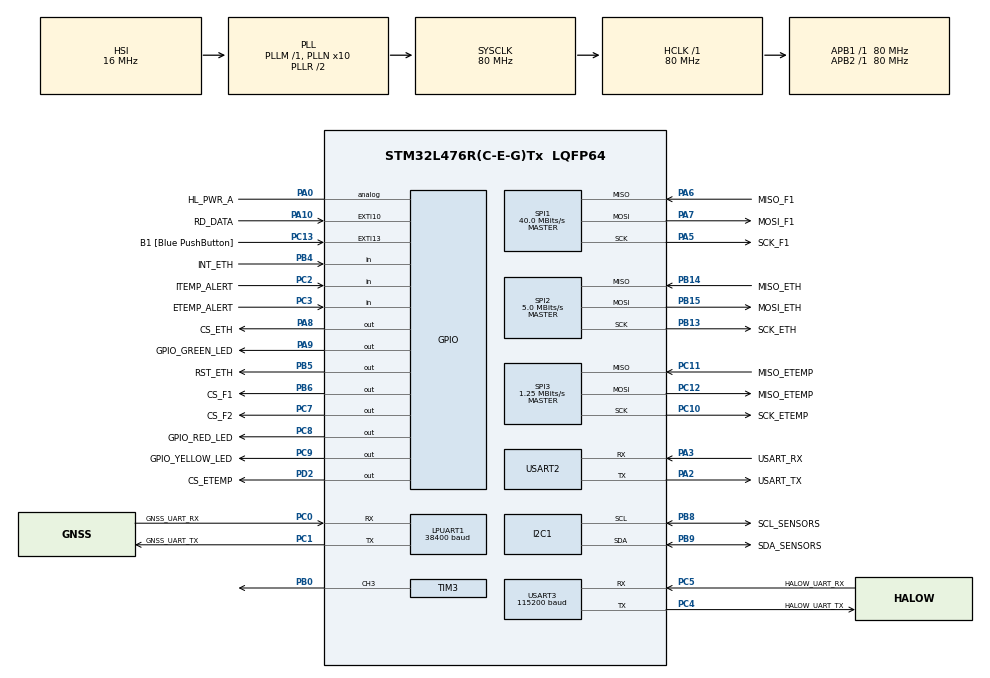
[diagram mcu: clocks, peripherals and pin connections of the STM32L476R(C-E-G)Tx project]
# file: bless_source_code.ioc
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FREERTOS.Queues01=logDataQueue,16,53,1,Dynamic,NULL,NULL;txMailBox,1,53,1,Dynamic,NULL,NULL;txElinkMailBox,1,53,1,Dynamic,NULL,NULL
FREERTOS.Tasks01=defaultTask,24,128,StartDefaultTask,Default,NULL,Dynamic,NULL,NULL;ACQUIRE,41,512,StartAcquire,Default,NULL,Dynamic,NULL,NULL;TXHALOW,32,512,StartTXHalow,Default,NULL,Dynamic,NULL,NULL;LOGDATA,24,256,StartLogData,Default,NULL,Dynamic,NULL,NULL;RXGNSS,14,512,StartRXGNSS,Default,NULL,Dynamic,NULL,NULL;RXELINK,16,512,StartRXELink,Default,NULL,Dynamic,NULL,NULL;TXELINK,15,512,StartTXELINK,Default,NULL,Dynamic,NULL,NULL
FREERTOS.configTOTAL_HEAP_SIZE=16384
FREERTOS.configUSE_NEWLIB_REENTRANT=1
I2C1.Timing=0x10D19CE4
LPUART1.BaudRate=38400
LPUART1.WordLength=UART_WORDLENGTH_8B
Mcu.Family=STM32L4
Mcu.Name=STM32L476R(C-E-G)Tx
Mcu.Package=LQFP64
NVIC.EXTI15_10_IRQn=true\:5\:0\:false\:false\:true\:true\:true\:true\:true
NVIC.LPUART1_IRQn=true\:5\:0\:false\:false\:true\:true\:true\:true\:true
NVIC.PriorityGroup=NVIC_PRIORITYGROUP_4
NVIC.TIM7_IRQn=true\:15\:0\:false\:false\:true\:false\:false\:true\:true
NVIC.TimeBase=TIM7_IRQn
NVIC.TimeBaseIP=TIM7
NVIC.USART3_IRQn=true\:5\:0\:false\:false\:true\:true\:true\:true\:true
PA0.GPIO_Label=HL_PWR_A
PA0.Signal=GPIO_Analog
PA10.GPIO_Label=RD_DATA
PA10.Signal=GPXTI10
PA11.GPIO_Label=USB_DMINUS
PA11.Signal=USB_OTG_FS_DM
PA12.GPIO_Label=USB_DPLUS
PA12.Signal=USB_OTG_FS_DP
PA13\ (JTMS-SWDIO).GPIO_Label=TMS
PA13\ (JTMS-SWDIO).Mode=Serial_Wire
PA13\ (JTMS-SWDIO).Signal=SYS_JTMS-SWDIO
PA14\ (JTCK-SWCLK).GPIO_Label=TCK
PA14\ (JTCK-SWCLK).Mode=Serial_Wire
PA14\ (JTCK-SWCLK).Signal=SYS_JTCK-SWCLK
PA2.GPIO_Label=USART_TX
PA2.GPIO_Mode=GPIO_MODE_AF_PP
PA2.GPIO_PuPd=GPIO_NOPULL
PA2.GPIO_Speed=GPIO_SPEED_FREQ_VERY_HIGH
PA2.Mode=Asynchronous
PA2.Signal=USART2_TX
PA3.GPIO_Label=USART_RX
PA3.GPIO_Mode=GPIO_MODE_AF_PP
PA3.GPIO_PuPd=GPIO_NOPULL
PA3.GPIO_Speed=GPIO_SPEED_FREQ_VERY_HIGH
PA3.Mode=Asynchronous
PA3.Signal=USART2_RX
PA5.GPIO_Label=SCK_F1
PA5.Mode=Full_Duplex_Master
PA5.Signal=SPI1_SCK
PA6.GPIO_Label=MISO_F1
PA6.Mode=Full_Duplex_Master
PA6.Signal=SPI1_MISO
PA7.GPIO_Label=MOSI_F1
PA7.Mode=Full_Duplex_Master
PA7.Signal=SPI1_MOSI
PA8.GPIO_Label=CS_ETH
PA8.PinState=GPIO_PIN_SET
PA8.Signal=GPIO_Output
PA9.GPIO_Label=GPIO_GREEN_LED
PA9.Signal=GPIO_Output
PB0.Signal=S_TIM3_CH3
PB13.GPIO_Label=SCK_ETH
PB13.GPIO_Speed=GPIO_SPEED_FREQ_MEDIUM
PB13.Mode=Full_Duplex_Master
PB13.Signal=SPI2_SCK
PB14.GPIO_Label=MISO_ETH
PB14.GPIO_Speed=GPIO_SPEED_FREQ_MEDIUM
PB14.Mode=Full_Duplex_Master
PB14.Signal=SPI2_MISO
PB15.GPIO_Label=MOSI_ETH
PB15.GPIO_Speed=GPIO_SPEED_FREQ_MEDIUM
PB15.Mode=Full_Duplex_Master
PB15.Signal=SPI2_MOSI
PB3\ (JTDO-TRACESWO).GPIO_Label=SWO
PB3\ (JTDO-TRACESWO).Signal=SYS_JTDO-SWO
PB4\ (NJTRST).GPIO_Label=INT_ETH
PB4\ (NJTRST).Signal=GPIO_Input
PB5.GPIO_Label=RST_ETH
PB5.PinState=GPIO_PIN_SET
PB5.Signal=GPIO_Output
PB6.GPIO_Label=CS_F1
PB6.PinState=GPIO_PIN_SET
PB6.Signal=GPIO_Output
PB8.GPIO_Label=SCL_SENSORS
PB8.Mode=I2C
PB8.Signal=I2C1_SCL
PB9.GPIO_Label=SDA_SENSORS
PB9.Mode=I2C
PB9.Signal=I2C1_SDA
PC0.GPIO_Label=GNSS_UART_RX
PC0.Mode=Asynchronous
PC0.Signal=LPUART1_RX
PC1.GPIO_Label=GNSS_UART_TX
PC1.Mode=Asynchronous
PC1.Signal=LPUART1_TX
PC10.GPIO_Label=SCK_ETEMP
PC10.Mode=Full_Duplex_Master
PC10.Signal=SPI3_SCK
PC11.GPIO_Label=MISO_ETEMP
PC11.Mode=Full_Duplex_Master
PC11.Signal=SPI3_MISO
PC12.GPIO_Label=MISO_ETEMP
PC12.Mode=Full_Duplex_Master
PC12.Signal=SPI3_MOSI
PC13.GPIO_Label=B1 [Blue PushButton]
PC13.GPIO_ModeDefaultEXTI=GPIO_MODE_IT_FALLING
PC13.GPIO_PuPd=GPIO_NOPULL
PC13.Signal=GPXTI13
PC14-OSC32_IN\ (PC14).Mode=LSE-External-Oscillator
PC14-OSC32_IN\ (PC14).Signal=RCC_OSC32_IN
PC15-OSC32_OUT\ (PC15).Mode=LSE-External-Oscillator
PC15-OSC32_OUT\ (PC15).Signal=RCC_OSC32_OUT
PC2.GPIO_Label=ITEMP_ALERT
PC2.Signal=GPIO_Input
PC3.GPIO_Label=ETEMP_ALERT
PC3.Signal=GPIO_Input
PC4.GPIO_Label=HALOW_UART_TX
PC4.Mode=Asynchronous
PC4.Signal=USART3_TX
PC5.GPIO_Label=HALOW_UART_RX
PC5.Mode=Asynchronous
PC5.Signal=USART3_RX
PC7.GPIO_Label=CS_F2
PC7.Signal=GPIO_Output
PC8.GPIO_Label=GPIO_RED_LED
PC8.Signal=GPIO_Output
PC9.GPIO_Label=GPIO_YELLOW_LED
PC9.Signal=GPIO_Output
PD2.GPIO_Label=CS_ETEMP
PD2.PinState=GPIO_PIN_SET
PD2.Signal=GPIO_Output
PH0-OSC_IN\ (PH0).Signal=RCC_OSC_IN
PH1-OSC_OUT\ (PH1).Signal=RCC_OSC_OUT
ProjectManager.HeapSize=0x200
ProjectManager.StackSize=0x400
ProjectManager.TargetToolchain=STM32CubeIDE
RCC.ADCFreq_Value=64000000
RCC.AHBFreq_Value=80000000
RCC.APB1Freq_Value=80000000
RCC.APB1TimFreq_Value=80000000
RCC.APB2Freq_Value=80000000
RCC.APB2TimFreq_Value=80000000
RCC.CortexFreq_Value=80000000
RCC.HCLKFreq_Value=80000000
RCC.HSE_VALUE=8000000
RCC.HSI_VALUE=16000000
RCC.MSI_VALUE=4000000
RCC.PLLN=10
RCC.PLLSourceVirtual=RCC_PLLSOURCE_HSI
RCC.PREFETCH_ENABLE=1
RCC.SYSCLKFreq_VALUE=80000000
RCC.SYSCLKSource=RCC_SYSCLKSOURCE_PLLCLK
RCC.USBFreq_Value=64000000
RCC.VCOOutputFreq_Value=160000000
SH.S_TIM3_CH3.0=TIM3_CH3,PWM Generation3 CH3
SPI1.CalculateBaudRate=40.0 MBits/s
SPI1.DataSize=SPI_DATASIZE_8BIT
SPI1.Direction=SPI_DIRECTION_2LINES
SPI1.Mode=SPI_MODE_MASTER
SPI1.VirtualType=VM_MASTER
SPI2.BaudRatePrescaler=SPI_BAUDRATEPRESCALER_16
SPI2.CalculateBaudRate=5.0 MBits/s
SPI2.DataSize=SPI_DATASIZE_8BIT
SPI2.Direction=SPI_DIRECTION_2LINES
SPI2.Mode=SPI_MODE_MASTER
SPI2.NSSPMode=SPI_NSS_PULSE_DISABLE
SPI2.VirtualType=VM_MASTER
SPI3.BaudRatePrescaler=SPI_BAUDRATEPRESCALER_64
SPI3.CLKPhase=SPI_PHASE_2EDGE
SPI3.CLKPolarity=SPI_POLARITY_LOW
SPI3.CalculateBaudRate=1.25 MBits/s
SPI3.DataSize=SPI_DATASIZE_8BIT
SPI3.Direction=SPI_DIRECTION_2LINES
SPI3.Mode=SPI_MODE_MASTER
SPI3.VirtualType=VM_MASTER
TIM3.Channel-PWM\ Generation3\ CH3=TIM_CHANNEL_3
TIM3.Period=99
TIM3.Prescaler=7999
USART2.VirtualMode-Asynchronous=VM_ASYNC
USART3.BaudRate=115200
USART3.VirtualMode-Asynchronous=VM_ASYNC
VP_FREERTOS_VS_CMSIS_V2.Mode=CMSIS_V2
VP_SYS_VS_tim7.Mode=TIM7
board=NUCLEO-L476RG

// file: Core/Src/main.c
/* USER CODE BEGIN Header */
/**
  ******************************************************************************
  * @file           : main.c
  * @brief          : Main program body
  ******************************************************************************
  * @attention
  *
  * Copyright (c) 2026 STMicroelectronics.
  * All rights reserved.
  *
  * This software is licensed under terms that can be found in the LICENSE file
  * in the root directory of this software component.
  * If no LICENSE file comes with this software, it is provided AS-IS.
  *
  ******************************************************************************
  */
/* USER CODE END Header */
#include "main.h"
#include "cmsis_os.h"

/* USER CODE BEGIN Includes */
#include "sensors.h"
#include "telemetry.h"
#include "txhalow.h"
#include "w25qxx.h"
#include "w25log.h"
#include "minmea.h"
#include "gnss_i2c.h"
#include "wizchip_port.h"
#include "socket.h"
#include "elink_cmd.h"
#include "mission_time.h"

#include <string.h>
#include <stdio.h>
/* USER CODE END Includes */

/* USER CODE BEGIN PD */
// Self check and initial config flags defines
#define FLAG_SENSORS_OK (1 << 0)
#define FLAG_HALOW_OK (1 << 1)
#define FLAG_FLASH_OK (1 << 2)
#define FLAG_ETHERNET_OK (1 << 3)

/* IWDG timeout = (reload + 1) * prescaler / LSI ~= 4 s at 32 kHz.
 * The margin accommodates LSI tolerance while ACQUIRE runs every second. */
#define BLESS_IWDG_PRESCALER (IWDG_PR_PR_2 | IWDG_PR_PR_0) /* /128 */
#define BLESS_IWDG_RELOAD    999U
#define BLESS_IWDG_INIT_TIMEOUT_MS 100U
#define BLESS_IWDG_KEY_RELOAD      0x0000AAAAU
#define BLESS_IWDG_KEY_ENABLE      0x0000CCCCU
#define BLESS_IWDG_KEY_WRITE       0x00005555U

/* Set to 1 only for destructive development/cold-test builds. */
#ifndef BLESS_DEV_FORMAT_FLASH_ON_BOOT
#define BLESS_DEV_FORMAT_FLASH_ON_BOOT 0
#endif
#define BLESS_BOOT_RECORD_COUNT UINT32_MAX

// GNSS VARIABLES
#define GPS_BUFFER_SIZE 100
#define GPS_I2C_READ_BUFFER_SIZE 128
#define GPS_I2C_POLL_PERIOD_MS 20

/* USER CODE END PD */

I2C_HandleTypeDef hi2c1;

UART_HandleTypeDef hlpuart1;
UART_HandleTypeDef huart2;
UART_HandleTypeDef huart3;

SPI_HandleTypeDef hspi1;
SPI_HandleTypeDef hspi2;
SPI_HandleTypeDef hspi3;

TIM_HandleTypeDef htim3;

/* Definitions for defaultTask */
osThreadId_t defaultTaskHandle;
const osThreadAttr_t defaultTask_attributes = {
  .name = "defaultTask",
  .stack_size = 128 * 4,
  .priority = (osPriority_t) osPriorityNormal,
};
/* Definitions for ACQUIRE */
osThreadId_t ACQUIREHandle;
const osThreadAttr_t ACQUIRE_attributes = {
  .name = "ACQUIRE",
  .stack_size = 512 * 4,
  .priority = (osPriority_t) osPriorityHigh1,
};
/* Definitions for TXHALOW */
osThreadId_t TXHALOWHandle;
const osThreadAttr_t TXHALOW_attributes = {
  .name = "TXHALOW",
  .stack_size = 512 * 4,
  .priority = (osPriority_t) osPriorityAboveNormal,
};
/* Definitions for LOGDATA */
osThreadId_t LOGDATAHandle;
const osThreadAttr_t LOGDATA_attributes = {
  .name = "LOGDATA",
  .stack_size = 256 * 4,
  .priority = (osPriority_t) osPriorityNormal,
};
/* Definitions for RXGNSS */
osThreadId_t RXGNSSHandle;
const osThreadAttr_t RXGNSS_attributes = {
  .name = "RXGNSS",
  .stack_size = 512 * 4,
  .priority = (osPriority_t) osPriorityLow6,
};
/* Definitions for RXELINK */
osThreadId_t RXELINKHandle;
const osThreadAttr_t RXELINK_attributes = {
  .name = "RXELINK",
  .stack_size = 512 * 4,
  .priority = (osPriority_t) osPriorityBelowNormal,
};
/* Definitions for TXELINK */
osThreadId_t TXELINKHandle;
const osThreadAttr_t TXELINK_attributes = {
  .name = "TXELINK",
  .stack_size = 512 * 4,
  .priority = (osPriority_t) osPriorityLow7,
};
/* Definitions for logDataQueue */
osMessageQueueId_t logDataQueueHandle;
const osMessageQueueAttr_t logDataQueue_attributes = {
  .name = "logDataQueue"
};
/* Definitions for txMailBox */
osMessageQueueId_t txMailBoxHandle;
const osMessageQueueAttr_t txMailBox_attributes = {
  .name = "txMailBox"
};
/* Definitions for txElinkMailBox */
osMessageQueueId_t txElinkMailBoxHandle;
const osMessageQueueAttr_t txElinkMailBox_attributes = {
  .name = "txElinkMailBox"
};
/* USER CODE BEGIN PV */

uint16_t count = 0;

// Initial check flags
osEventFlagsId_t InitFlags;

volatile SystemState_t current_state = STATE_INIT;

// UART VARIABLES
uint8_t rx_byte;
char halow_rx_lines[HALOW_RX_LINE_DEPTH][HALOW_RX_LINE_SIZE];
volatile uint8_t halow_rx_line_head = 0U;
volatile uint8_t halow_rx_line_tail = 0U;
volatile uint8_t halow_rx_line_count = 0U;
volatile uint16_t rx_index = 0U;

TelemetryPacket rf_data_cache;

// E-LINK COMMANDS VARIABLES

volatile uint8_t new_tx_power = 9;
volatile uint8_t flag_update_tx_power = 0;

volatile uint8_t new_mcs = 0;
volatile uint8_t flag_update_mcs = 0;

volatile uint8_t flag_dump_spi_data = 0;
volatile uint8_t flag_save_data = 0U;

volatile uint8_t heater_manual_enabled = 0U;
volatile uint8_t heater_manual_power_pct = 0U;

volatile uint8_t flag_halow_connect = 0U;
volatile HaLowMode_t halow_active_mode = HALOW_INITIAL_MODE;
volatile HaLowMode_t requested_halow_mode = HALOW_INITIAL_MODE;
volatile uint8_t flag_halow_mode_change = 0U;
volatile uint8_t halow_rf_silenced = 0U;
volatile uint8_t flag_force_halow_tx = 0U;

// E-LINK RX variables
uint8_t eth_rx_buffer[256];

// GNSS VARIABLES
char gps_buffer[GPS_BUFFER_SIZE];
uint8_t gps_idx = 0;

GPSData_t actual_gps = {0};
osMutexId_t mtxGPSHandle;
osMutexId_t mtxI2C1Handle;

volatile uint16_t rad_pulse_count = 0;
uint8_t boot_reset_cause = 0U;

/* USER CODE END PV */

void SystemClock_Config(void);
static void MX_GPIO_Init(void);
static void MX_USART2_UART_Init(void);
static void MX_TIM3_Init(void);
static void MX_I2C1_Init(void);
static void MX_SPI3_Init(void);
static void MX_USART3_UART_Init(void);
static void MX_SPI1_Init(void);
static void MX_LPUART1_UART_Init(void);
static void MX_SPI2_Init(void);
void StartDefaultTask(void *argument);
void StartAcquire(void *argument);
void StartTXHalow(void *argument);
void StartLogData(void *argument);
void StartRXGNSS(void *argument);
void StartRXELink(void *argument);
void StartTXELINK(void *argument);

/* USER CODE BEGIN PFP */

static void GNSS_ProcessSentence(const char *sentence);
static void GNSS_FeedByte(uint8_t byte);
static void ELink_QueueNewestTelemetry(const TelemetryPacket *packet);
static void ELink_EnsureTxSocket(void);
static uint8_t BLESS_IWDG_Init(void);
static void BLESS_IWDG_Refresh(void);

/* USER CODE END PFP */

int main(void)
{

  /* MCU Configuration--------------------------------------------------------*/

  /* Reset of all peripherals, Initializes the Flash interface and the Systick. */
  HAL_Init();

  /* USER CODE BEGIN Init */
  if (__HAL_RCC_GET_FLAG(RCC_FLAG_IWDGRST) != RESET) {
      boot_reset_cause = 1U;
  } else if (__HAL_RCC_GET_FLAG(RCC_FLAG_SFTRST) != RESET) {
      boot_reset_cause = 2U;
  } else if (__HAL_RCC_GET_FLAG(RCC_FLAG_BORRST) != RESET) {
      boot_reset_cause = 3U;
  } else if (__HAL_RCC_GET_FLAG(RCC_FLAG_PINRST) != RESET) {
      boot_reset_cause = 4U;
  }
  __HAL_RCC_CLEAR_RESET_FLAGS();

  /* Reset forzoso de periféricos tras posible evento de tensión */
    __HAL_RCC_SPI1_FORCE_RESET();
    __HAL_RCC_SPI1_RELEASE_RESET();
    __HAL_RCC_SPI2_FORCE_RESET();
    __HAL_RCC_SPI2_RELEASE_RESET();
    __HAL_RCC_SPI3_FORCE_RESET();
    __HAL_RCC_SPI3_RELEASE_RESET();

  /* USER CODE END Init */

  /* Configure the system clock */
  SystemClock_Config();

  /* Initialize all configured peripherals */
  MX_GPIO_Init();
  MX_USART2_UART_Init();
  MX_TIM3_Init();
  MX_I2C1_Init();
  MX_SPI3_Init();
  MX_USART3_UART_Init();
  MX_SPI1_Init();
  MX_LPUART1_UART_Init();
  MX_SPI2_Init();
  /* USER CODE BEGIN 2 */
  if(BLESS_IWDG_Init() == 0U){
	  Error_Handler();
  }
  InitFlags = osEventFlagsNew(NULL);
  if(InitFlags == NULL){
	  HAL_GPIO_WritePin(GPIO_GREEN_LED_GPIO_Port, GPIO_GREEN_LED_Pin, GPIO_PIN_SET);
	  printf("NOT ENOUGHT RAM TO CREATE FLAGS");
	  Error_Handler();
  }

  /* WAIT COUNTER TO SEE INIT*/

  /* USER CODE END 2 */

  /* Init scheduler */
  osKernelInitialize();

  /* USER CODE BEGIN RTOS_MUTEX */
  mtxGPSHandle = osMutexNew(NULL);
  mtxI2C1Handle = osMutexNew(NULL);
  if ((mtxGPSHandle == NULL) || (mtxI2C1Handle == NULL)) {
      Error_Handler();
  }
  /* USER CODE END RTOS_MUTEX */

  /* Create the queue(s) */
  /* creation of logDataQueue */
  logDataQueueHandle = osMessageQueueNew (16, 53, &logDataQueue_attributes);

  /* creation of txMailBox */
  txMailBoxHandle = osMessageQueueNew (1, 53, &txMailBox_attributes);

  /* creation of txElinkMailBox */
  txElinkMailBoxHandle = osMessageQueueNew (1, 53, &txElinkMailBox_attributes);

  /* Create the thread(s) */
  /* creation of defaultTask */
  defaultTaskHandle = osThreadNew(StartDefaultTask, NULL, &defaultTask_attributes);

  /* creation of ACQUIRE */
  ACQUIREHandle = osThreadNew(StartAcquire, NULL, &ACQUIRE_attributes);

  /* creation of TXHALOW */
  TXHALOWHandle = osThreadNew(StartTXHalow, NULL, &TXHALOW_attributes);

  /* creation of LOGDATA */
  LOGDATAHandle = osThreadNew(StartLogData, NULL, &LOGDATA_attributes);

  /* creation of RXGNSS */
  RXGNSSHandle = osThreadNew(StartRXGNSS, NULL, &RXGNSS_attributes);

  /* creation of RXELINK */
  RXELINKHandle = osThreadNew(StartRXELink, NULL, &RXELINK_attributes);

  /* creation of TXELINK */
  TXELINKHandle = osThreadNew(StartTXELINK, NULL, &TXELINK_attributes);

  /* USER CODE BEGIN RTOS_EVENTS */
  /* add events, ... */
  HAL_UART_Receive_IT(&hlpuart1, &rx_byte, 1);
  /* USER CODE END RTOS_EVENTS */

  /* Start scheduler */
  osKernelStart();

  /* We should never get here as control is now taken by the scheduler */

  /* Infinite loop */
  while (1)
  {

  }
}

void SystemClock_Config(void)
{
  RCC_OscInitTypeDef RCC_OscInitStruct = {0};
  RCC_ClkInitTypeDef RCC_ClkInitStruct = {0};

  /** Configure the main internal regulator output voltage
  */
  if (HAL_PWREx_ControlVoltageScaling(PWR_REGULATOR_VOLTAGE_SCALE1) != HAL_OK)
  {
    Error_Handler();
  }

  /** Initializes the RCC Oscillators according to the specified parameters
  * in the RCC_OscInitTypeDef structure.
  */
  RCC_OscInitStruct.OscillatorType = RCC_OSCILLATORTYPE_HSI;
  RCC_OscInitStruct.HSIState = RCC_HSI_ON;
  RCC_OscInitStruct.HSICalibrationValue = RCC_HSICALIBRATION_DEFAULT;
  RCC_OscInitStruct.PLL.PLLState = RCC_PLL_ON;
  RCC_OscInitStruct.PLL.PLLSource = RCC_PLLSOURCE_HSI;
  RCC_OscInitStruct.PLL.PLLM = 1;
  RCC_OscInitStruct.PLL.PLLN = 10;
  RCC_OscInitStruct.PLL.PLLP = RCC_PLLP_DIV7;
  RCC_OscInitStruct.PLL.PLLQ = RCC_PLLQ_DIV2;
  RCC_OscInitStruct.PLL.PLLR = RCC_PLLR_DIV2;
  if (HAL_RCC_OscConfig(&RCC_OscInitStruct) != HAL_OK)
  {
    Error_Handler();
  }

  /** Initializes the CPU, AHB and APB buses clocks
  */
  RCC_ClkInitStruct.ClockType = RCC_CLOCKTYPE_HCLK|RCC_CLOCKTYPE_SYSCLK
                              |RCC_CLOCKTYPE_PCLK1|RCC_CLOCKTYPE_PCLK2;
  RCC_ClkInitStruct.SYSCLKSource = RCC_SYSCLKSOURCE_PLLCLK;
  RCC_ClkInitStruct.AHBCLKDivider = RCC_SYSCLK_DIV1;
  RCC_ClkInitStruct.APB1CLKDivider = RCC_HCLK_DIV1;
  RCC_ClkInitStruct.APB2CLKDivider = RCC_HCLK_DIV1;

  if (HAL_RCC_ClockConfig(&RCC_ClkInitStruct, FLASH_LATENCY_4) != HAL_OK)
  {
    Error_Handler();
  }
}

static void MX_I2C1_Init(void)
{

  hi2c1.Instance = I2C1;
  hi2c1.Init.Timing = 0x10D19CE4;
  hi2c1.Init.OwnAddress1 = 0;
  hi2c1.Init.AddressingMode = I2C_ADDRESSINGMODE_7BIT;
  hi2c1.Init.DualAddressMode = I2C_DUALADDRESS_DISABLE;
  hi2c1.Init.OwnAddress2 = 0;
  hi2c1.Init.OwnAddress2Masks = I2C_OA2_NOMASK;
  hi2c1.Init.GeneralCallMode = I2C_GENERALCALL_DISABLE;
  hi2c1.Init.NoStretchMode = I2C_NOSTRETCH_DISABLE;
  if (HAL_I2C_Init(&hi2c1) != HAL_OK)
  {
    Error_Handler();
  }

  /** Configure Analogue filter
  */
  if (HAL_I2CEx_ConfigAnalogFilter(&hi2c1, I2C_ANALOGFILTER_ENABLE) != HAL_OK)
  {
    Error_Handler();
  }

  /** Configure Digital filter
  */
  if (HAL_I2CEx_ConfigDigitalFilter(&hi2c1, 0) != HAL_OK)
  {
    Error_Handler();
  }

}

static void MX_LPUART1_UART_Init(void)
{

  hlpuart1.Instance = LPUART1;
  hlpuart1.Init.BaudRate = 115200;
  hlpuart1.Init.WordLength = UART_WORDLENGTH_8B;
  hlpuart1.Init.StopBits = UART_STOPBITS_1;
  hlpuart1.Init.Parity = UART_PARITY_NONE;
  hlpuart1.Init.Mode = UART_MODE_TX_RX;
  hlpuart1.Init.HwFlowCtl = UART_HWCONTROL_NONE;
  hlpuart1.Init.OneBitSampling = UART_ONE_BIT_SAMPLE_DISABLE;
  hlpuart1.AdvancedInit.AdvFeatureInit = UART_ADVFEATURE_NO_INIT;
  if (HAL_UART_Init(&hlpuart1) != HAL_OK)
  {
    Error_Handler();
  }

}

static void MX_USART2_UART_Init(void)
{

  huart2.Instance = USART2;
  huart2.Init.BaudRate = 115200;
  huart2.Init.WordLength = UART_WORDLENGTH_8B;
  huart2.Init.StopBits = UART_STOPBITS_1;
  huart2.Init.Parity = UART_PARITY_NONE;
  huart2.Init.Mode = UART_MODE_TX_RX;
  huart2.Init.HwFlowCtl = UART_HWCONTROL_NONE;
  huart2.Init.OverSampling = UART_OVERSAMPLING_16;
  huart2.Init.OneBitSampling = UART_ONE_BIT_SAMPLE_DISABLE;
  huart2.AdvancedInit.AdvFeatureInit = UART_ADVFEATURE_NO_INIT;
  if (HAL_UART_Init(&huart2) != HAL_OK)
  {
    Error_Handler();
  }

}

static void MX_USART3_UART_Init(void)
{

  huart3.Instance = USART3;
  huart3.Init.BaudRate = 115200;
  huart3.Init.WordLength = UART_WORDLENGTH_8B;
  huart3.Init.StopBits = UART_STOPBITS_1;
  huart3.Init.Parity = UART_PARITY_NONE;
  huart3.Init.Mode = UART_MODE_TX_RX;
  huart3.Init.HwFlowCtl = UART_HWCONTROL_NONE;
  huart3.Init.OverSampling = UART_OVERSAMPLING_16;
  huart3.Init.OneBitSampling = UART_ONE_BIT_SAMPLE_DISABLE;
  huart3.AdvancedInit.AdvFeatureInit = UART_ADVFEATURE_NO_INIT;
  if (HAL_UART_Init(&huart3) != HAL_OK)
  {
    Error_Handler();
  }

}

static void MX_SPI1_Init(void)
{

  /* SPI1 parameter configuration*/
  hspi1.Instance = SPI1;
  hspi1.Init.Mode = SPI_MODE_MASTER;
  hspi1.Init.Direction = SPI_DIRECTION_2LINES;
  hspi1.Init.DataSize = SPI_DATASIZE_8BIT;
  hspi1.Init.CLKPolarity = SPI_POLARITY_LOW;
  hspi1.Init.CLKPhase = SPI_PHASE_1EDGE;
  hspi1.Init.NSS = SPI_NSS_SOFT;
  hspi1.Init.BaudRatePrescaler = SPI_BAUDRATEPRESCALER_2;
  hspi1.Init.FirstBit = SPI_FIRSTBIT_MSB;
  hspi1.Init.TIMode = SPI_TIMODE_DISABLE;
  hspi1.Init.CRCCalculation = SPI_CRCCALCULATION_DISABLE;
  hspi1.Init.CRCPolynomial = 7;
  hspi1.Init.CRCLength = SPI_CRC_LENGTH_DATASIZE;
  hspi1.Init.NSSPMode = SPI_NSS_PULSE_ENABLE;
  if (HAL_SPI_Init(&hspi1) != HAL_OK)
  {
    Error_Handler();
  }

}

static void MX_SPI2_Init(void)
{

  /* SPI2 parameter configuration*/
  hspi2.Instance = SPI2;
  hspi2.Init.Mode = SPI_MODE_MASTER;
  hspi2.Init.Direction = SPI_DIRECTION_2LINES;
  hspi2.Init.DataSize = SPI_DATASIZE_8BIT;
  hspi2.Init.CLKPolarity = SPI_POLARITY_LOW;
  hspi2.Init.CLKPhase = SPI_PHASE_1EDGE;
  hspi2.Init.NSS = SPI_NSS_SOFT;
  hspi2.Init.BaudRatePrescaler = SPI_BAUDRATEPRESCALER_16;
  hspi2.Init.FirstBit = SPI_FIRSTBIT_MSB;
  hspi2.Init.TIMode = SPI_TIMODE_DISABLE;
  hspi2.Init.CRCCalculation = SPI_CRCCALCULATION_DISABLE;
  hspi2.Init.CRCPolynomial = 7;
  hspi2.Init.CRCLength = SPI_CRC_LENGTH_DATASIZE;
  hspi2.Init.NSSPMode = SPI_NSS_PULSE_DISABLE;
  if (HAL_SPI_Init(&hspi2) != HAL_OK)
  {
    Error_Handler();
  }

}

static void MX_SPI3_Init(void)
{

  /* SPI3 parameter configuration*/
  hspi3.Instance = SPI3;
  hspi3.Init.Mode = SPI_MODE_MASTER;
  hspi3.Init.Direction = SPI_DIRECTION_2LINES;
  hspi3.Init.DataSize = SPI_DATASIZE_8BIT;
  hspi3.Init.CLKPolarity = SPI_POLARITY_LOW;
  hspi3.Init.CLKPhase = SPI_PHASE_2EDGE;
  hspi3.Init.NSS = SPI_NSS_SOFT;
  hspi3.Init.BaudRatePrescaler = SPI_BAUDRATEPRESCALER_64;
  hspi3.Init.FirstBit = SPI_FIRSTBIT_MSB;
  hspi3.Init.TIMode = SPI_TIMODE_DISABLE;
  hspi3.Init.CRCCalculation = SPI_CRCCALCULATION_DISABLE;
  hspi3.Init.CRCPolynomial = 7;
  hspi3.Init.CRCLength = SPI_CRC_LENGTH_DATASIZE;
  hspi3.Init.NSSPMode = SPI_NSS_PULSE_DISABLE;
  if (HAL_SPI_Init(&hspi3) != HAL_OK)
  {
    Error_Handler();
  }

}

static void MX_TIM3_Init(void)
{

  TIM_MasterConfigTypeDef sMasterConfig = {0};
  TIM_OC_InitTypeDef sConfigOC = {0};

  htim3.Instance = TIM3;
  htim3.Init.Prescaler = 7999;
  htim3.Init.CounterMode = TIM_COUNTERMODE_UP;
  htim3.Init.Period = 99;
  htim3.Init.ClockDivision = TIM_CLOCKDIVISION_DIV1;
  htim3.Init.AutoReloadPreload = TIM_AUTORELOAD_PRELOAD_DISABLE;
  if (HAL_TIM_PWM_Init(&htim3) != HAL_OK)
  {
    Error_Handler();
  }
  sMasterConfig.MasterOutputTrigger = TIM_TRGO_RESET;
  sMasterConfig.MasterSlaveMode = TIM_MASTERSLAVEMODE_DISABLE;
  if (HAL_TIMEx_MasterConfigSynchronization(&htim3, &sMasterConfig) != HAL_OK)
  {
    Error_Handler();
  }
  sConfigOC.OCMode = TIM_OCMODE_PWM1;
  sConfigOC.Pulse = 0;
  sConfigOC.OCPolarity = TIM_OCPOLARITY_HIGH;
  sConfigOC.OCFastMode = TIM_OCFAST_DISABLE;
  if (HAL_TIM_PWM_ConfigChannel(&htim3, &sConfigOC, TIM_CHANNEL_3) != HAL_OK)
  {
    Error_Handler();
  }
  HAL_TIM_MspPostInit(&htim3);

}

static void MX_GPIO_Init(void)
{
  GPIO_InitTypeDef GPIO_InitStruct = {0};

  /* GPIO Ports Clock Enable */
  __HAL_RCC_GPIOC_CLK_ENABLE();
  __HAL_RCC_GPIOH_CLK_ENABLE();
  __HAL_RCC_GPIOA_CLK_ENABLE();
  __HAL_RCC_GPIOB_CLK_ENABLE();
  __HAL_RCC_GPIOD_CLK_ENABLE();

  /*Configure GPIO pin Output Level */
  HAL_GPIO_WritePin(GPIOC, CS_F2_Pin|GPIO_RED_LED_Pin|GPIO_YELLOW_LED_Pin, GPIO_PIN_RESET);

  /*Configure GPIO pin Output Level */
  HAL_GPIO_WritePin(CS_ETH_GPIO_Port, CS_ETH_Pin, GPIO_PIN_SET);

  /*Configure GPIO pin Output Level */
  HAL_GPIO_WritePin(GPIO_GREEN_LED_GPIO_Port, GPIO_GREEN_LED_Pin, GPIO_PIN_RESET);

  /*Configure GPIO pin Output Level */
  HAL_GPIO_WritePin(CS_ETEMP_GPIO_Port, CS_ETEMP_Pin, GPIO_PIN_SET);

  /*Configure GPIO pin Output Level */
  HAL_GPIO_WritePin(GPIOB, RST_ETH_Pin|CS_F1_Pin, GPIO_PIN_SET);

  /*Configure GPIO pin : B1_Pin */
  GPIO_InitStruct.Pin = B1_Pin;
  GPIO_InitStruct.Mode = GPIO_MODE_IT_FALLING;
  GPIO_InitStruct.Pull = GPIO_NOPULL;
  HAL_GPIO_Init(B1_GPIO_Port, &GPIO_InitStruct);

  /*Configure GPIO pins : ITEMP_ALERT_Pin ETEMP_ALERT_Pin */
  GPIO_InitStruct.Pin = ITEMP_ALERT_Pin|ETEMP_ALERT_Pin;
  GPIO_InitStruct.Mode = GPIO_MODE_INPUT;
  GPIO_InitStruct.Pull = GPIO_NOPULL;
  HAL_GPIO_Init(GPIOC, &GPIO_InitStruct);

  /*Configure GPIO pin : HL_PWR_A_Pin */
  GPIO_InitStruct.Pin = HL_PWR_A_Pin;
  GPIO_InitStruct.Mode = GPIO_MODE_ANALOG;
  GPIO_InitStruct.Pull = GPIO_NOPULL;
  HAL_GPIO_Init(HL_PWR_A_GPIO_Port, &GPIO_InitStruct);

  /*Configure GPIO pins : CS_F2_Pin GPIO_RED_LED_Pin GPIO_YELLOW_LED_Pin */
  GPIO_InitStruct.Pin = CS_F2_Pin|GPIO_RED_LED_Pin|GPIO_YELLOW_LED_Pin;
  GPIO_InitStruct.Mode = GPIO_MODE_OUTPUT_PP;
  GPIO_InitStruct.Pull = GPIO_NOPULL;
  GPIO_InitStruct.Speed = GPIO_SPEED_FREQ_LOW;
  HAL_GPIO_Init(GPIOC, &GPIO_InitStruct);

  /*Configure GPIO pins : CS_ETH_Pin GPIO_GREEN_LED_Pin */
  GPIO_InitStruct.Pin = CS_ETH_Pin|GPIO_GREEN_LED_Pin;
  GPIO_InitStruct.Mode = GPIO_MODE_OUTPUT_PP;
  GPIO_InitStruct.Pull = GPIO_NOPULL;
  GPIO_InitStruct.Speed = GPIO_SPEED_FREQ_LOW;
  HAL_GPIO_Init(GPIOA, &GPIO_InitStruct);

  /*Configure GPIO pin : RD_DATA_Pin */
  GPIO_InitStruct.Pin = RD_DATA_Pin;
  GPIO_InitStruct.Mode = GPIO_MODE_IT_RISING;
  GPIO_InitStruct.Pull = GPIO_NOPULL;
  HAL_GPIO_Init(RD_DATA_GPIO_Port, &GPIO_InitStruct);

  /*Configure GPIO pins : USB_DMINUS_Pin USB_DPLUS_Pin */
  GPIO_InitStruct.Pin = USB_DMINUS_Pin|USB_DPLUS_Pin;
  GPIO_InitStruct.Mode = GPIO_MODE_AF_PP;
  GPIO_InitStruct.Pull = GPIO_NOPULL;
  GPIO_InitStruct.Speed = GPIO_SPEED_FREQ_VERY_HIGH;
  GPIO_InitStruct.Alternate = GPIO_AF10_OTG_FS;
  HAL_GPIO_Init(GPIOA, &GPIO_InitStruct);

  /*Configure GPIO pin : CS_ETEMP_Pin */
  GPIO_InitStruct.Pin = CS_ETEMP_Pin;
  GPIO_InitStruct.Mode = GPIO_MODE_OUTPUT_PP;
  GPIO_InitStruct.Pull = GPIO_NOPULL;
  GPIO_InitStruct.Speed = GPIO_SPEED_FREQ_LOW;
  HAL_GPIO_Init(CS_ETEMP_GPIO_Port, &GPIO_InitStruct);

  /*Configure GPIO pin : INT_ETH_Pin */
  GPIO_InitStruct.Pin = INT_ETH_Pin;
  GPIO_InitStruct.Mode = GPIO_MODE_INPUT;
  GPIO_InitStruct.Pull = GPIO_NOPULL;
  HAL_GPIO_Init(INT_ETH_GPIO_Port, &GPIO_InitStruct);

  /*Configure GPIO pins : RST_ETH_Pin CS_F1_Pin */
  GPIO_InitStruct.Pin = RST_ETH_Pin|CS_F1_Pin;
  GPIO_InitStruct.Mode = GPIO_MODE_OUTPUT_PP;
  GPIO_InitStruct.Pull = GPIO_NOPULL;
  GPIO_InitStruct.Speed = GPIO_SPEED_FREQ_LOW;
  HAL_GPIO_Init(GPIOB, &GPIO_InitStruct);

  /* EXTI interrupt init*/
  HAL_NVIC_SetPriority(EXTI15_10_IRQn, 5, 0);
  HAL_NVIC_EnableIRQ(EXTI15_10_IRQn);

}

/* USER CODE BEGIN 4 */

static uint8_t BLESS_IWDG_Init(void)
{
    uint32_t start = HAL_GetTick();

#ifdef DEBUG
    /* Keep breakpoints usable in development builds. The watchdog continues
     * running normally in Release/mission builds. */
    __HAL_DBGMCU_FREEZE_IWDG();
#endif

    /* Starting the IWDG forces its independent LSI clock on. */
    WRITE_REG(IWDG->KR, BLESS_IWDG_KEY_ENABLE);
    WRITE_REG(IWDG->KR, BLESS_IWDG_KEY_WRITE);
    WRITE_REG(IWDG->PR, BLESS_IWDG_PRESCALER);
    WRITE_REG(IWDG->RLR, BLESS_IWDG_RELOAD);

    while ((IWDG->SR & (IWDG_SR_WVU | IWDG_SR_RVU | IWDG_SR_PVU)) != 0U) {
        if ((HAL_GetTick() - start) > BLESS_IWDG_INIT_TIMEOUT_MS) {
            return 0U;
        }
    }

    /* Disable window mode and load the configured reload value. */
    WRITE_REG(IWDG->WINR, IWDG_WINR_WIN);
    WRITE_REG(IWDG->KR, BLESS_IWDG_KEY_RELOAD);
    return 1U;
}

static void BLESS_IWDG_Refresh(void)
{
    WRITE_REG(IWDG->KR, BLESS_IWDG_KEY_RELOAD);
}

static void ELink_QueueNewestTelemetry(const TelemetryPacket *packet)
{
    TelemetryPacket stale_packet;

    if (osMessageQueuePut(txElinkMailBoxHandle, packet, 0U, 0U) == osOK) {
        return;
    }

    /* Keep the newest 1 Hz sample while the E-Link destination is offline. */
    (void)osMessageQueueGet(txElinkMailBoxHandle, &stale_packet, NULL, 0U);
    if (osMessageQueuePut(txElinkMailBoxHandle, packet, 0U, 0U) != osOK) {
        printf("E-Link telemetry mailbox replacement failed.\r\n");
    }
}

static void ELink_EnsureTxSocket(void)
{
    while (getSn_SR(1) != SOCK_UDP) {
        close(1);
        if (socket(1, Sn_MR_UDP, 5001, 0) == 1) {
            printf("E-Link TX socket ready on local port 5001.\r\n");
            return;
        }

        printf("E-Link TX socket unavailable; retrying.\r\n");
        osDelay(250);
    }
}

void HAL_GPIO_EXTI_Callback(uint16_t GPIO_Pin)
{
    if(GPIO_Pin == RD_DATA_Pin) {
        rad_pulse_count++;
    }
}

void HAL_UART_RxCpltCallback(UART_HandleTypeDef *huart)
{

    //============== USART3 ==============

    if (huart->Instance == LPUART1)
    {
        if (rx_byte == '\n' || rx_byte == '\r') {
            if (rx_index > 1) {
                halow_rx_lines[halow_rx_line_head][rx_index] = '\0';
                if (halow_rx_line_count < HALOW_RX_LINE_DEPTH) {
                    halow_rx_line_head = (uint8_t)((halow_rx_line_head + 1U)
                        % HALOW_RX_LINE_DEPTH);
                    halow_rx_line_count++;
                }
                rx_index = 0;
                if (TXHALOWHandle != NULL) {
                    osThreadFlagsSet(TXHALOWHandle, 0x01);
                }
            } else {
                rx_index = 0;
            }
        } else {
            if (halow_rx_line_count < HALOW_RX_LINE_DEPTH
                    && rx_index < (HALOW_RX_LINE_SIZE - 1U)) {
                halow_rx_lines[halow_rx_line_head][rx_index] = (char)rx_byte;
                rx_index++;
            }
        }
        HAL_UART_Receive_IT(huart, &rx_byte, 1);
    }

}

static void GNSS_ProcessSentence(const char *sentence)
{
    switch (minmea_sentence_id(sentence, false))
    {
      case MINMEA_SENTENCE_GGA:
      {
        struct minmea_sentence_gga gga;
        if (minmea_parse_gga(&gga, sentence))
        {
            float lat_decimal = minmea_tocoord(&gga.latitude);
            float lon_decimal = minmea_tocoord(&gga.longitude);

            int32_t lat_fixed = (int32_t)(lat_decimal * 10000000.0f);
            int32_t lon_fixed = (int32_t)(lon_decimal * 10000000.0f);
            uint16_t alt = (uint16_t)minmea_tofloat(&gga.altitude);

            uint8_t fix = (gga.fix_quality > 3) ? 3 : gga.fix_quality;
            uint8_t sats = (gga.satellites_tracked > 63) ? 63 : gga.satellites_tracked;
            int8_t fix_sats_packed = (int8_t)((fix << 6) | sats);

            if (osMutexAcquire(mtxGPSHandle, osWaitForever) == osOK)
            {
                actual_gps.lat = lat_fixed;
                actual_gps.lon = lon_fixed;
                actual_gps.alt = alt;
                actual_gps.fix_sats = fix_sats_packed;
                osMutexRelease(mtxGPSHandle);
            }
        }
        break;
      }

      case MINMEA_SENTENCE_RMC:
      {
        struct minmea_sentence_rmc rmc;
        if (minmea_parse_rmc(&rmc, sentence)) {
            /* Reserved for speed, course and UTC date/time. */
        }
        break;
      }

      default:
        break;
    }
}

static void GNSS_FeedByte(uint8_t byte)
{
    if (byte == '$') {
        gps_idx = 0;
    }

    /* Ignore padding and partial data until the beginning of a NMEA sentence. */
    if ((gps_idx == 0U) && (byte != '$')) {
        return;
    }

    if (byte == '\r') {
        return;
    }

    if (byte == '\n') {
        gps_buffer[gps_idx] = '\0';
        GNSS_ProcessSentence(gps_buffer);
        gps_idx = 0;
        return;
    }

    if (gps_idx < (GPS_BUFFER_SIZE - 1U)) {
        gps_buffer[gps_idx++] = (char)byte;
    } else {
        /* Drop an oversized/corrupt sentence and resynchronize at the next '$'. */
        gps_idx = 0;
    }
}

void log_print_callback(uint32_t index, const uint8_t *packet_data, void *ctx) {
    printf("Packet #%lu: ", index);
    for (int i = 0; i < W25LOG_PACKET_SIZE; i++) {
        printf("%02X ", packet_data[i]);
    }
    printf("\r\n");
}

/* USER CODE END 4 */

void StartDefaultTask(void *argument)
{
  for(;;)
  {
    osDelay(1);
  }
}

void StartAcquire(void *argument)
{
  /* USER CODE BEGIN StartAcquire */
  /* ACQUIRE is the sole owner of the watchdog refresh. */
  BLESS_IWDG_Refresh();
  osDelay(1000);
  Sensors_Init();

  HAL_TIM_PWM_Start(&htim3, TIM_CHANNEL_3);

  // Heater PID variables
  float KP = 5.0;
  float KI = 2.0;
  float KD = 1.0;

  float accumulative_error = 0.0;
  float last_error = 0.0;
  float set_point = -10.0;

  float error, p, i, d;
  float output_power = 0.0;

  /** Start sensors self check**/
  HAL_GPIO_WritePin(GPIO_YELLOW_LED_GPIO_Port, GPIO_YELLOW_LED_Pin, GPIO_PIN_SET);

  if(SensorsSelfCheck()){
	  osEventFlagsSet(InitFlags, FLAG_SENSORS_OK);
  }
  BLESS_IWDG_Refresh();

  //osEventFlagsWait(InitFlags, FLAG_SENSORS_OK | FLAG_HALOW_OK | FLAG_FLASH_OK | FLAG_ETHERNET_OK, osFlagsWaitAll, osWaitForever);

  current_state = STATE_FLIGHT; // For testing, switch to STATE_FLIGHT

  if(current_state == STATE_FLIGHT){
	  HAL_GPIO_WritePin(GPIO_YELLOW_LED_GPIO_Port, GPIO_YELLOW_LED_Pin, GPIO_PIN_RESET);
	  HAL_GPIO_WritePin(GPIO_GREEN_LED_GPIO_Port, GPIO_GREEN_LED_Pin, GPIO_PIN_SET);
  }

  uint32_t packet_counter = 0;
  uint32_t previousWakeTime = osKernelGetTickCount();

  uint32_t last_elink_tx_time = 0U;

  /* Infinite loop */
  for(;;)
  {
		TelemetryPacket packet = {0};
		SystemState_t packet_state;

		taskENTER_CRITICAL();
		packet_state = current_state;
		taskEXIT_CRITICAL();

	if(packet_state == STATE_FLIGHT){
		HAL_GPIO_WritePin(GPIO_GREEN_LED_GPIO_Port, GPIO_GREEN_LED_Pin, GPIO_PIN_SET);
		HAL_GPIO_WritePin(GPIO_YELLOW_LED_GPIO_Port, GPIO_YELLOW_LED_Pin, GPIO_PIN_RESET);
	}
	else{
		HAL_GPIO_WritePin(GPIO_YELLOW_LED_GPIO_Port, GPIO_YELLOW_LED_Pin, GPIO_PIN_SET);
		HAL_GPIO_WritePin(GPIO_GREEN_LED_GPIO_Port, GPIO_GREEN_LED_Pin, GPIO_PIN_SET);
	}

	packet.count = packet_counter;
	packet.timestamp = MissionTime_GetMs();
	packet_counter++;

	readSensors(&packet);

	/* Snapshot the latest HaLow statistics before distributing the packet.
	 * This makes flash, HaLow and E-Link receive the same complete data. */
	taskENTER_CRITICAL();
	packet.rf_rssi = rf_data_cache.rf_rssi;
	packet.rf_snr = rf_data_cache.rf_snr;
	packet.rf_freq_dev = rf_data_cache.rf_freq_dev;
	packet.rf_success_rate = rf_data_cache.rf_success_rate;
	packet.rf_noise_floor = rf_data_cache.rf_noise_floor;
	packet.rf_tx_mcs = rf_data_cache.rf_tx_mcs;
	packet.temp_chip = rf_data_cache.temp_chip;
	packet.system_state = (uint16_t)packet_state;
	packet.rad_cps = rad_pulse_count;
	rad_pulse_count = 0;
	taskEXIT_CRITICAL();

	if (osMutexAcquire(mtxGPSHandle, osWaitForever) == osOK)
	{
	    packet.gps_lat = actual_gps.lat;
	    packet.gps_lon = actual_gps.lon;
	    packet.gps_alt = actual_gps.alt;
	    packet.gps_fix_sats = actual_gps.fix_sats;
	    osMutexRelease(mtxGPSHandle);
	}

	if(packet_state == STATE_FLIGHT){
		uint8_t manual_enabled;
		uint8_t manual_power;

		taskENTER_CRITICAL();
		manual_enabled = heater_manual_enabled;
		manual_power = heater_manual_power_pct;
		taskEXIT_CRITICAL();

		if(manual_enabled != 0U){
			if (packet.int_temp >= 4000) {
			    output_power = 0.0f;
			}else{
				output_power = (float)manual_power;
			}
			accumulative_error = 0.0f;
			last_error = 0.0f;
		}else{
			/* Autonomous PID control. */
			error = set_point - (packet.int_temp / 100.0f);
			p = KP * error;
			accumulative_error = accumulative_error + error;
			i = KI * accumulative_error;
			d = KD * (error - last_error);

			output_power = p + i + d;
			last_error = error;

			if (output_power >= 100.0 || output_power <= 0.0){
				accumulative_error = accumulative_error - error;
			}
			output_power  = (output_power > 100.0) ? 100.0 : output_power;
			output_power  = (output_power < 0.0) ? 0.0 : output_power;
		}

		__HAL_TIM_SET_COMPARE(&htim3, TIM_CHANNEL_3, (uint32_t)output_power);
	}else{
		output_power = 0.0f;
		accumulative_error = 0.0f;
		last_error = 0.0f;
		__HAL_TIM_SET_COMPARE(&htim3, TIM_CHANNEL_3, 0U);
	}

	printf("Heater Power: %.2f", output_power);
	packet.heater_power = (uint16_t)(output_power * 100.0f);
	Telemetry_Finalize(&packet);
	Telemetry_UpdateLatest(&packet);

	// Add telemetry to the E-LINK queue each 5 seconds to transmit through E-LINK
	if ((HAL_GetTick() - last_elink_tx_time) >= 5000U) {
	    ELink_QueueNewestTelemetry(&packet);
	    last_elink_tx_time = HAL_GetTick();
	}

	if(packet_state == STATE_FLIGHT){
		osMessageQueuePut(txMailBoxHandle, &packet, 0, 100);
		osMessageQueuePut(logDataQueueHandle, &packet, 0, 100);
	}

	previousWakeTime += 1000;
	BLESS_IWDG_Refresh();
	osDelayUntil(previousWakeTime);
  }
  /* USER CODE END StartAcquire */
}

void StartTXHalow(void *argument)
{
  /* USER CODE BEGIN StartTXHalow */
	  osDelay(5000);
	  if(Config_HaLow(&hlpuart1, halow_active_mode)){
		  osEventFlagsSet(InitFlags, FLAG_HALOW_OK);
	  }

	  TelemetryPacket rx_packet; // Telemetry packet from ACQUIRE task
	  rx_index = 0;
	  memset(halow_rx_lines, 0, sizeof(halow_rx_lines));
	  memset(&rf_data_cache, 0, sizeof(TelemetryPacket));

	  uint32_t last_tx_time = 0;
	  uint32_t received_flags;

	  for(;;)
	  {
		  received_flags = osThreadFlagsWait(0x01, osFlagsWaitAny, 100);

		  if((received_flags & osFlagsError) == 0 && (received_flags & 0x01)){
			  char line[HALOW_RX_LINE_SIZE];
			  while(HaLow_PopRxLine(line, sizeof(line))){
				  HaLow_Extract_Data(line, &rf_data_cache);
			  }
		  }
          if (flag_halow_mode_change || flag_halow_connect) {
              HaLowMode_t target = requested_halow_mode;
              flag_halow_mode_change = 0U;
              flag_halow_connect = 0U;
              /* Do not transmit until the new AT configuration finishes. */
              if (Config_HaLow(&hlpuart1, target)) {
                  halow_active_mode = target;
                  memset(&rf_data_cache, 0, sizeof(rf_data_cache));
                  osEventFlagsSet(InitFlags, FLAG_HALOW_OK);
                  printf("HaLow mode active: %s\r\n",
                      target == HALOW_MODE_GROUP ? "GROUP" : "AP");
              } else {
                  /* Partially applied commands may leave radio in unknown mode.
                     Recover with ELINK_CMD_HALOW_CONNECT (0x20). */
                  printf("HaLow mode reconfiguration failed; retry via E-Link\r\n");
              }
          }
		  if(flag_update_tx_power && (halow_rf_silenced == 0U)){
			  char str_power_tx[8];
			  snprintf(str_power_tx, sizeof(str_power_tx), "%d", new_tx_power);
			  (void)HaLow_Send_Config_Command(&hlpuart1, "TXPOWER", str_power_tx);
			  flag_update_tx_power = 0;
		  }
		  if(flag_update_mcs && (halow_rf_silenced == 0U)){
			  char str_mcs[8];
			  snprintf(str_mcs, sizeof(str_mcs), "%d", new_mcs);
			  (void)HaLow_Send_Config_Command(&hlpuart1, "TX_MCS", str_mcs);
			  flag_update_mcs = 0;
		  }
		  if(flag_force_halow_tx && (halow_rf_silenced == 0U)){
			  TelemetryPacket forced_packet;
			  flag_force_halow_tx = 0U;
			  if(Telemetry_GetLatest(&forced_packet)){
				  Tx_HaLow_Packet(&hlpuart1, forced_packet);
				  last_tx_time = HAL_GetTick();
			  }
		  }
		  if((current_state == STATE_FLIGHT) && (halow_rf_silenced == 0U)){
			  HAL_GPIO_WritePin(GPIO_GREEN_LED_GPIO_Port, GPIO_GREEN_LED_Pin, GPIO_PIN_SET);
			  HAL_GPIO_WritePin(GPIO_YELLOW_LED_GPIO_Port, GPIO_YELLOW_LED_Pin, GPIO_PIN_RESET);

			  if((HAL_GetTick() -  last_tx_time) >= DUTY_CYCLE_MS){
				  if(osMessageQueueGet(txMailBoxHandle, &rx_packet, NULL, 0) == osOK){
					  rx_packet.rf_rssi = rf_data_cache.rf_rssi;
					  rx_packet.rf_snr = rf_data_cache.rf_snr;
				      rx_packet.rf_noise_floor = rf_data_cache.rf_noise_floor;
				      rx_packet.rf_freq_dev = rf_data_cache.rf_freq_dev;
				      rx_packet.rf_tx_mcs = rf_data_cache.rf_tx_mcs;
				      rx_packet.temp_chip = rf_data_cache.temp_chip;

					  printTelemetry(&rx_packet); // Just during tests

					  Tx_HaLow_Packet(&hlpuart1, rx_packet);
					  last_tx_time = HAL_GetTick();
				  }
			  }
		  }
		  else if(current_state == STATE_IDDLE){
			  HAL_GPIO_WritePin(GPIO_YELLOW_LED_GPIO_Port, GPIO_YELLOW_LED_Pin, GPIO_PIN_SET);
			  HAL_GPIO_WritePin(GPIO_GREEN_LED_GPIO_Port, GPIO_GREEN_LED_Pin, GPIO_PIN_SET);
		  }
	  }
  /* USER CODE END StartTXHalow */
}

void StartLogData(void *argument)
{
  /* USER CODE BEGIN StartLogData */
	 W25QXX_ID_t flash_id;
	 W25LOG_State_t log_state;
	 TelemetryPacket packet_to_log;

	 osDelay(2000);

	 uint8_t flash_present = W25QXX_Init(&flash_id);
	 uint8_t log_ready = 0;

	  if (flash_present) {
	      log_ready = W25LOG_Init(&log_state);
	      log_state.reset_cause = boot_reset_cause;
	  } else {
	      printf("W25QXX NO RESPONDE\r\n");
	  }

	  #if BLESS_DEV_FORMAT_FLASH_ON_BOOT
	  if (flash_present && log_ready && W25LOG_Format(&log_state) == 0U) {
	      log_ready = 0U;
	      printf("Flash format failed\r\n");
	  }
	  #endif

	  if (flash_present && log_ready) {
	      /* Persist the boot even if the system resets before its first 1 Hz
	       * acquisition. UINT32_MAX distinguishes this marker from samples. */
	      TelemetryPacket boot_record = {0};
	      boot_record.timestamp = MissionTime_GetMs();
	      boot_record.count = BLESS_BOOT_RECORD_COUNT;
	      boot_record.system_state = (uint16_t)STATE_INIT;
	      Telemetry_Finalize(&boot_record);
	      if (W25LOG_WritePacket(&log_state, (uint8_t *)&boot_record) != 0U) {
	          log_ready = 0U;
	          printf("Flash boot record failed\r\n");
	      }
	  }

	  if (flash_present && log_ready) {
	      osEventFlagsSet(InitFlags, FLAG_FLASH_OK);
	      printf("Flash Ready. Stored Packets: %lu, Boot ID: %lu, Reset: %u\r\n",
	             log_state.packet_count, log_state.boot_id,
	             log_state.reset_cause);
	  } else {
	      printf("Flash Init Error \r\n");
	  }

	  /* Infinite loop */
	  for(;;)
	  {
		if (osMessageQueueGet(logDataQueueHandle, &packet_to_log, NULL, 100) == osOK
				&& flash_present && log_ready) {
			uint8_t write_status = W25LOG_WritePacket(
					&log_state, (uint8_t*)&packet_to_log);
			if (write_status != 0U) {
				printf("Flash log write failed (%u)\r\n", write_status);
			}
		}

		if(flag_save_data){
			/* Writes are synchronous. Draining the queue guarantees every sample
			 * already produced before this command is committed to flash. */
			while(osMessageQueueGet(logDataQueueHandle, &packet_to_log,
					NULL, 0U) == osOK){
				if(flash_present && log_ready
						&& W25LOG_WritePacket(&log_state,
								(uint8_t*)&packet_to_log) != 0U){
					printf("SAVE_DATA flash write failed\r\n");
					break;
				}
			}
			flag_save_data = 0U;
		}

		if(flag_dump_spi_data && flash_present && log_ready){
			W25LOG_DumpToUART(&huart2, &log_state);
			flag_dump_spi_data = 0;
		}

	  }
  /* USER CODE END StartLogData */
}

void StartRXGNSS(void *argument)
{
  /* USER CODE BEGIN StartRXGNSS */
  uint8_t i2c_data[GPS_I2C_READ_BUFFER_SIZE];
  uint16_t bytes_read;
  HAL_StatusTypeDef status;

  /* Wait until the MAX-M10S acknowledges its default I2C address. */
  do {
      status = HAL_ERROR;
      if (osMutexAcquire(mtxI2C1Handle, osWaitForever) == osOK) {
          status = GNSS_I2C_IsReady(&hi2c1);
          osMutexRelease(mtxI2C1Handle);
      }
      if (status != HAL_OK) {
          osDelay(250);
      }
  } while (status != HAL_OK);

  /* Verify the active RAM setting, not just the I2C acknowledgement.
   * Release the shared sensor bus between operations and while waiting. */
  uint8_t airborne_verified = 0U;
  for (uint8_t attempt = 0U; attempt < 3U && !airborne_verified; ++attempt) {
      GNSS_UBXParser parser = {0};
      status = HAL_ERROR;
      if (osMutexAcquire(mtxI2C1Handle, osWaitForever) == osOK) {
          status = GNSS_I2C_SetAirborne(&hi2c1);
          osMutexRelease(mtxI2C1Handle);
      }
      if (status != HAL_OK) { osDelay(100); continue; }
      osDelay(100);
      status = HAL_ERROR;
      if (osMutexAcquire(mtxI2C1Handle, osWaitForever) == osOK) {
          status = GNSS_I2C_RequestDynamicModel(&hi2c1);
          osMutexRelease(mtxI2C1Handle);
      }
      if (status != HAL_OK) { osDelay(100); continue; }
      uint32_t started = HAL_GetTick();
      while (!airborne_verified && (uint32_t)(HAL_GetTick() - started) < 1000U) {
          bytes_read = 0U;
          status = HAL_ERROR;
          if (osMutexAcquire(mtxI2C1Handle, osWaitForever) == osOK) {
              status = GNSS_I2C_Read(&hi2c1, i2c_data, sizeof(i2c_data), &bytes_read);
              osMutexRelease(mtxI2C1Handle);
          }
          if (status == HAL_OK) {
              for (uint16_t i = 0U; i < bytes_read; ++i) {
                  if (GNSS_I2C_AirborneVerified(&parser, i2c_data[i])) {
                      airborne_verified = 1U;
                  }
              }
          }
          osDelay(GPS_I2C_POLL_PERIOD_MS);
      }
  }
  /* Configuration consumed startup stream data; begin NMEA at a fresh '$'. */
  gps_idx = 0U;
  printf(airborne_verified ? "GNSS Airborne <1g verified\r\n" :
         "GNSS WARNING: Airborne <1g NOT verified; continuing NMEA\r\n");

  /* Infinite loop */
  for (;;)
  {
      bytes_read = 0U;
      status = HAL_ERROR;

      if (osMutexAcquire(mtxI2C1Handle, osWaitForever) == osOK) {
          status = GNSS_I2C_Read(&hi2c1,i2c_data, sizeof(i2c_data), &bytes_read);
          osMutexRelease(mtxI2C1Handle);
      }

      if (status == HAL_OK) {
          for (uint16_t i = 0U; i < bytes_read; i++) {
              GNSS_FeedByte(i2c_data[i]);
          }
          osDelay(GPS_I2C_POLL_PERIOD_MS);
      } else {
          /* Avoid flooding a faulty or disconnected bus. */
          osDelay(100);
      }
  }
  /* USER CODE END StartRXGNSS */
}

void StartRXELink(void *argument)
{
  /* USER CODE BEGIN StartRXELink */
	_Static_assert(sizeof(ELinkCommand) == 10U, "Unexpected E-Link command size");

	/* Allow the W5500 supply and 25 MHz oscillator to settle after power-up. */
	printf("Waiting 2 seconds before W5500 initialization...\r\n");
	osDelay(2000);

	while (W5500_Init() != 1) {
		printf("W5500 initialization failed; retrying in 1 second\r\n");
		osDelay(1000);
	}
	osEventFlagsSet(InitFlags, FLAG_ETHERNET_OK);

	while (socket(0, Sn_MR_UDP, UDP_PORT, 0) != 0) {
		printf("Error while opening UDP port for RX; retrying\r\n");
		osDelay(1000);
	}
	printf("E-Link UDP RX ready on W5500 port %u (socket 0).\r\n", UDP_PORT);

	  /* Infinite loop */
	  for(;;)
	  {
		  if (getSn_SR(0) != SOCK_UDP) {
			  printf("E-Link RX socket left UDP state; reopening port %u.\r\n",
			         UDP_PORT);
			  close(0);
			  while (socket(0, Sn_MR_UDP, UDP_PORT, 0) != 0) {
				  osDelay(100);
			  }
		  }

		  uint16_t data_len = getSn_RX_RSR(0);

		      if(data_len > 0)
		      {
		          uint8_t target_ip[4];
		          uint16_t target_port;
		          uint16_t receive_capacity = (uint16_t)sizeof(eth_rx_buffer);
		          if (data_len < receive_capacity) {
		              receive_capacity = data_len;
		          }

		          int32_t len = recvfrom(0, eth_rx_buffer, receive_capacity,
		                                 target_ip, &target_port);
		          printf("E-Link UDP RX: %ld bytes from %u.%u.%u.%u:%u.\r\n",
		                 (long)len,
		                 target_ip[0], target_ip[1], target_ip[2], target_ip[3],
		                 target_port);

		          if(len == sizeof(ELinkCommand)) {
		              ELinkCommand incoming_cmd;
		              memcpy(&incoming_cmd, eth_rx_buffer, sizeof(incoming_cmd));
		              ELinkCommandResult result = RECEIVE_ELINK_CMD(&incoming_cmd);

		              // Callback to the GS
		              switch(result) {
		                  case ELINK_CMD_OK:
		                      if(incoming_cmd.cmd_id == ELINK_CMD_PING) {
		                          ELinkCommand ping_response;
		                          Build_Ping_Response(&incoming_cmd, &ping_response);
		                          sendto(0, (uint8_t*)&ping_response, sizeof(ping_response), target_ip, target_port);
		                          uint16_t ping_token = (uint16_t)incoming_cmd.payload[0]
		                                                | ((uint16_t)incoming_cmd.payload[1] << 8);
		                          printf("Ping 0x%04X responded to %u.%u.%u.%u:%u.\r\n",
		                                 ping_token,
		                                 target_ip[0], target_ip[1], target_ip[2], target_ip[3],
		                                 target_port);
		                      } else if(incoming_cmd.cmd_id == ELINK_CMD_SYNC_TIME) {
		                          static const uint8_t sync_time_ack[] = "ACK: SYNC_TIME\r\n";
		                          sendto(0, (uint8_t *)sync_time_ack,
		                                 sizeof(sync_time_ack) - 1U,
		                                 target_ip, target_port);
		                          printf("Mission time synchronized at local tick %lu.\r\n",
		                                 HAL_GetTick());
		                      } else {
		                          sendto(0, (uint8_t*)"ACK: CMD EXECTUTED\r\n", 19, target_ip, target_port);
		                          printf("Command %d processed.\r\n", incoming_cmd.cmd_id);
		                      }
		                      break;
		                  case ELINK_CMD_ERR_SYNC:
		                      sendto(0, (uint8_t*)"ERR: SYNC WORD\r\n", 16, target_ip, target_port);
		                      printf("Sync error.\r\n");
		                      break;
		                  case ELINK_CMD_ERR_CHECKSUM:
		                      sendto(0, (uint8_t*)"ERR: CHECKSUM\r\n", 15, target_ip, target_port);
		                      printf("Checksum Error.\r\n");
		                      break;
		                  case ELINK_CMD_ERR_UNKNOWN_ID:
		                      sendto(0, (uint8_t*)"ERR: UNKNOWN ID\r\n", 17, target_ip, target_port);
		                      printf("Command %d doesn't exist.\r\n", incoming_cmd.cmd_id);
		                      break;
		                  case ELINK_CMD_ERR_PAYLOAD:
		                      sendto(0, (uint8_t*)"ERR: PAYLOAD\r\n", 14, target_ip, target_port);
		                      printf("Invalid payload size %u for command %u.\r\n", incoming_cmd.payload_size, incoming_cmd.cmd_id);
		                      break;
		                  case ELINK_CMD_ERR_RANGE:
		                      sendto(0, (uint8_t *)"ERR: RANGE\r\n", sizeof("ERR: RANGE\r\n") - 1U, target_ip, target_port);
		                      printf("Parameter out of range for command %u.\r\n",
		                             incoming_cmd.cmd_id);
		                      break;
		              }
		          }
		          else {
		              printf("Wrong Size (%ld bytes, expected %d).\r\n", len, sizeof(ELinkCommand));
		          }
		      }
		  osDelay(10);

	  }
  /* USER CODE END StartRXELink */
}

void StartTXELINK(void *argument)
{
  /* USER CODE BEGIN StartTXELINK */
	TelemetryPacket rx_packet;
	uint8_t gs1_ip[4] = GS1_IP;
	uint8_t gs2_ip[4] = GS2_IP;

	uint16_t target_port = GS_PORT;

	osEventFlagsWait(InitFlags, FLAG_ETHERNET_OK,
	                 osFlagsWaitAny, osWaitForever);

	ELink_EnsureTxSocket();

  /* Infinite loop */
  for(;;)
  {
	  if (osMessageQueueGet(txElinkMailBoxHandle, &rx_packet,
	                        NULL, osWaitForever) == osOK) {
		  /* Recalculate immediately before transmission in case the packet is
		   * modified by future processing stages. */
		  Telemetry_Finalize(&rx_packet);
		  ELink_EnsureTxSocket();
		  /* Send telemetry to GS1 */
		  int32_t sent_bytes_gs1 = sendto(
				  1,
				  (uint8_t *)&rx_packet,
				  sizeof(TelemetryPacket),
				  gs1_ip,
				  target_port);

		  if (sent_bytes_gs1 < 0)
		  {
			  uint8_t socket_state = getSn_SR(1);

			  printf("Error transmitting Telemetry to GS1 (%ld), socket 0x%02X.\r\n",
		                      (long)sent_bytes_gs1, socket_state);

			  if (socket_state != SOCK_UDP)
			  {
				  close(1);
				  ELink_EnsureTxSocket();
			  }
		  }

		  /* Send telemetry to GS2 */
		  int32_t sent_bytes_gs2 = sendto(
				  1,
				  (uint8_t *)&rx_packet,
				  sizeof(TelemetryPacket),
				  gs2_ip, target_port);

		  if (sent_bytes_gs2 < 0)
		  {
			  uint8_t socket_state = getSn_SR(1);

			  printf("Error transmitting Telemetry to GS2 (%ld), socket 0x%02X.\r\n",
					  (long)sent_bytes_gs2,
					  socket_state);

			  if (socket_state != SOCK_UDP)
			  {
				  close(1);
				  ELink_EnsureTxSocket();
			  }
		  }
	  }
  }
  /* USER CODE END StartTXELINK */
}

void HAL_TIM_PeriodElapsedCallback(TIM_HandleTypeDef *htim)
{
  if (htim->Instance == TIM7)
  {
    HAL_IncTick();
  }
}

void Error_Handler(void)
{
  __disable_irq();
  while (1)
  {
  }
}
